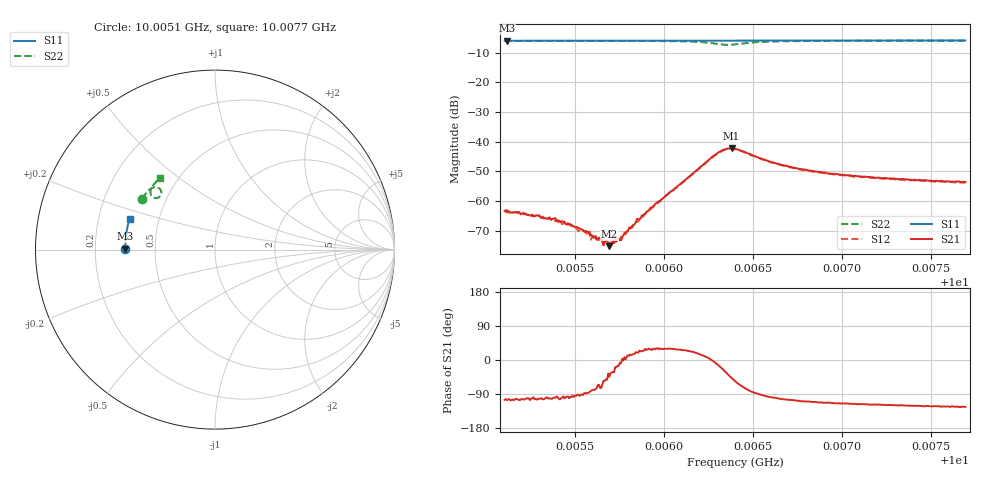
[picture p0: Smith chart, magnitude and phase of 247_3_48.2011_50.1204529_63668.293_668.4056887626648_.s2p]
#  HZ  S  RI  R  50.00
! Rohde & Schwarz Vector Network Analyzer
! Rohde-Schwarz,ZNB20-2Port,1311601062101988,3.16
! Created: UTC 3/20/2024, 11:47:07 AM
! freq[Hz]  re:S11  im:S11  re:S21  im:S21  re:S12  im:S12  re:S22  im:S22
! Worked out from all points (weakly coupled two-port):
!   401 points, 10.0051 GHz to 10.0077 GHz, reference 50 ohm
!   highest |S21| = -42.28 dB at 10.00638 GHz (marker M1); lowest = -75.3 dB at 10.00569 GHz (marker M2)
!   lowest |S11| = -6.0 dB at 10.00512 GHz (marker M3), VSWR 3.00, Z = 16.7 + j0.222 ohm
!   |S11| at or under -10 dB: nowhere
!   |S22| runs from -7.4 to -6.0 dB; largest |S21 - S12| = 0.00047
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1.0005102e10  -0.4998 0.00421  -0.000179 -0.000656  -0.000151 -0.000652  -0.4056 0.284
1.0005115e10  -0.4998 0.00499  -0.00019 -0.000672  -0.000142 -0.000621  -0.405 0.2848
1.0005342e10  -0.5 0.0198  -7.53e-05 -0.000495  -6.64e-05 -0.000501  -0.3961 0.2982
1.0005387e10  -0.4999 0.0227  -8.72e-05 -0.000509  -6.25e-05 -0.000453  -0.394 0.3009
1.0005452e10  -0.4998 0.027  -5.01e-05 -0.000397  -2.48e-05 -0.000418  -0.3914 0.3047
1.0005537e10  -0.4996 0.0326  -7.7e-06 -0.000329  1.18e-05 -0.0003  -0.3875 0.3099
1.0005614e10  -0.4995 0.0376  5.97e-05 -0.00025  7.39e-05 -0.000216  -0.3839 0.3146
1.0005692e10  -0.4993 0.0427  0.000125 -0.00012  0.000165 -0.000104  -0.3797 0.3195
1.0005705e10  -0.4992 0.0434  0.00015 -9.62e-05  0.000177 -0.000107  -0.3791 0.3204
1.0005738e10  -0.499 0.0456  0.000213 -5.79e-05  0.000207 -5.59e-05  -0.3771 0.3223
1.0005763e10  -0.4989 0.0474  0.00024 1.28e-05  0.00024 -1.64e-05  -0.3757 0.3241
1.0005861e10  -0.4986 0.0535  0.000453 0.000208  0.000438 0.000198  -0.3694 0.3303
1.0005971e10  -0.4979 0.0607  0.000874 0.000466  0.00083 0.00051  -0.3607 0.3377
1.0006289e10  -0.495 0.0811  0.00598 -0.000799  0.00592 -0.000505  -0.3015 0.3294
1.0006334e10  -0.4946 0.0838  0.00652 -0.00319  0.00651 -0.00281  -0.3002 0.3072
1.0006379e10  -0.4944 0.0863  0.0052 -0.00567  0.00536 -0.00527  -0.3162 0.2895
1.0006399e10  -0.494 0.0875  0.00426 -0.00621  0.00449 -0.0059  -0.3258 0.2869
1.0006619e10  -0.4925 0.1018  -0.000731 -0.00433  -0.000566 -0.00428  -0.3594 0.3269
1.0006833e10  -0.4899 0.1153  -0.00112 -0.003  -0.000958 -0.00297  -0.3503 0.3501
1.0007067e10  -0.4867 0.1301  -0.00116 -0.00236  -0.001 -0.00237  -0.3385 0.3665
1.0007268e10  -0.4837 0.1427  -0.00115 -0.00209  -0.00103 -0.00209  -0.328 0.3779
1.0007696e10  -0.4759 0.1692  -0.00116 -0.00173  -0.00105 -0.00173  -0.3064 0.3986
